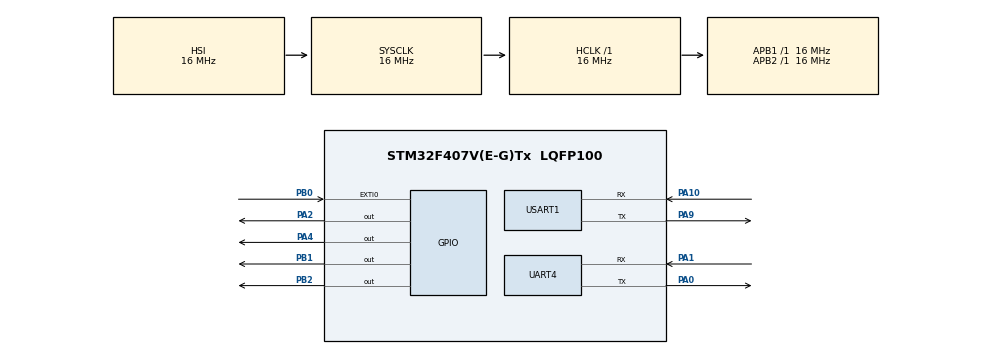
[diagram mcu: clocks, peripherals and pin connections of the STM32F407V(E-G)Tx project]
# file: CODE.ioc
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Dma.Request0=USART1_RX
Dma.USART1_RX.0.Direction=DMA_PERIPH_TO_MEMORY
Dma.USART1_RX.0.FIFOMode=DMA_FIFOMODE_DISABLE
Dma.USART1_RX.0.Instance=DMA2_Stream2
Dma.USART1_RX.0.MemDataAlignment=DMA_MDATAALIGN_BYTE
Dma.USART1_RX.0.MemInc=DMA_MINC_ENABLE
Dma.USART1_RX.0.Mode=DMA_NORMAL
Dma.USART1_RX.0.PeriphDataAlignment=DMA_PDATAALIGN_BYTE
Dma.USART1_RX.0.PeriphInc=DMA_PINC_DISABLE
Dma.USART1_RX.0.Priority=DMA_PRIORITY_LOW
Mcu.Family=STM32F4
<<<<<<< HEAD
Mcu.Name=STM32F407V(E-G)Tx
Mcu.Package=LQFP100
=======
Mcu.Name=STM32F407V(E-G)Tx
Mcu.Package=LQFP100
>>>>>>> trung
NVIC.DMA2_Stream2_IRQn=true\:0\:0\:false\:false\:true\:false\:true\:true
NVIC.EXTI0_IRQn=true\:2\:0\:true\:false\:true\:true\:true\:true
NVIC.PriorityGroup=NVIC_PRIORITYGROUP_4
NVIC.UART4_IRQn=true\:1\:0\:true\:false\:true\:true\:true\:true
<<<<<<< HEAD
PA10.Mode=Asynchronous
PA10.Signal=USART1_RX
PA13.Mode=Serial_Wire
PA13.Signal=SYS_JTMS-SWDIO
PA14.Mode=Serial_Wire
PA14.Signal=SYS_JTCK-SWCLK
PA9.Mode=Asynchronous
PA9.Signal=USART1_TX
=======
PA0-WKUP.Mode=Asynchronous
PA0-WKUP.Signal=UART4_TX
PA1.Mode=Asynchronous
PA1.Signal=UART4_RX
PA2.Signal=GPIO_Output
PA4.Signal=GPIO_Output
PB0.Signal=GPXTI0
PB1.Signal=GPIO_Output
PB2.Signal=GPIO_Output
>>>>>>> trung
ProjectManager.HeapSize=0x200
ProjectManager.StackSize=0x400
ProjectManager.TargetToolchain=STM32CubeIDE
<<<<<<< HEAD
=======
>>>>>>> trung
RCC.AHBFreq_Value=16000000
RCC.APB1Freq_Value=16000000
RCC.APB2Freq_Value=16000000
RCC.CortexFreq_Value=16000000
RCC.HSE_VALUE=25000000
RCC.HSI_VALUE=16000000
RCC.LSE_VALUE=32768
RCC.SYSCLKFreq_VALUE=16000000
RCC.VCOOutputFreq_Value=192000000
<<<<<<< HEAD
USART1.VirtualMode=VM_ASYNC
=======
UART4.VirtualMode=Asynchronous
>>>>>>> trung
board=custom

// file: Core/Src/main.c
/* USER CODE BEGIN Header */
/**
 ******************************************************************************
 * @file           : main.c
 * @brief          : Main program body
 ******************************************************************************
 * @attention
 *
 * Copyright (c) 2023 STMicroelectronics.
 * All rights reserved.
 *
 * This software is licensed under terms that can be found in the LICENSE file
 * in the root directory of this software component.
 * If no LICENSE file comes with this software, it is provided AS-IS.
 *
 ******************************************************************************
 */
/* USER CODE END Header */
#include "main.h"

/* USER CODE BEGIN Includes */
#include "rs485.h"
#include "string.h"
#include "stdio.h"

/* USER CODE END Includes */

UART_HandleTypeDef huart1;
DMA_HandleTypeDef hdma_usart1_rx;

/* USER CODE BEGIN PV */
RS485 *rs485Ptr;
RS485 rs485 = {0};
UART_HandleTypeDef huart4;

/* USER CODE END PV */

void SystemClock_Config(void);
static void MX_GPIO_Init(void);
<<<<<<< HEAD
static void MX_DMA_Init(void);
static void MX_USART1_UART_Init(void);
=======
static void MX_UART4_Init(void);
>>>>>>> trung

/* USER CODE BEGIN 0 */

void RS485_Init()
{
  rs485Ptr = &rs485;
  rs485Ptr->RS485_Power_Port = GPIOA;
  rs485Ptr->RS485_Power_Pin = GPIO_PIN_4;
  rs485Ptr->RS485_RE_Port = GPIOB;
  rs485Ptr->RS485_RE_Pin = GPIO_PIN_1;
  rs485Ptr->RS485_DE_Port = GPIOB;
  rs485Ptr->RS485_DE_Pin = GPIO_PIN_2;
  rs485Ptr->huart = &huart4;
  sprintf(rs485Ptr->TxBuffer, "%s", "Hello World");
}
/* USER CODE END 0 */

int main(void)
{

  /* MCU Configuration--------------------------------------------------------*/

  /* Reset of all peripherals, Initializes the Flash interface and the Systick. */
  HAL_Init();

  /* Configure the system clock */
  SystemClock_Config();

  /* Initialize all configured peripherals */
  MX_GPIO_Init();
<<<<<<< HEAD
  MX_DMA_Init();
  MX_USART1_UART_Init();
=======
  MX_UART4_Init();
>>>>>>> trung
  /* USER CODE BEGIN 2 */
  RS485_Init();
  RS485_Transmit(rs485Ptr);

  /* USER CODE END 2 */

  /* Infinite loop */
  /* USER CODE BEGIN WHILE */
  while (1)
  {
    RS485_Receive(rs485Ptr);
    /* USER CODE END WHILE */

  }
}

void SystemClock_Config(void)
{
  RCC_OscInitTypeDef RCC_OscInitStruct = {0};
  RCC_ClkInitTypeDef RCC_ClkInitStruct = {0};

  /** Configure the main internal regulator output voltage
   */
  __HAL_RCC_PWR_CLK_ENABLE();
  __HAL_PWR_VOLTAGESCALING_CONFIG(PWR_REGULATOR_VOLTAGE_SCALE1);

  /** Initializes the RCC Oscillators according to the specified parameters
   * in the RCC_OscInitTypeDef structure.
   */
  RCC_OscInitStruct.OscillatorType = RCC_OSCILLATORTYPE_HSI;
  RCC_OscInitStruct.HSIState = RCC_HSI_ON;
  RCC_OscInitStruct.HSICalibrationValue = RCC_HSICALIBRATION_DEFAULT;
  RCC_OscInitStruct.PLL.PLLState = RCC_PLL_NONE;
  if (HAL_RCC_OscConfig(&RCC_OscInitStruct) != HAL_OK)
  {
    Error_Handler();
  }

  /** Initializes the CPU, AHB and APB buses clocks
   */
  RCC_ClkInitStruct.ClockType = RCC_CLOCKTYPE_HCLK | RCC_CLOCKTYPE_SYSCLK | RCC_CLOCKTYPE_PCLK1 | RCC_CLOCKTYPE_PCLK2;
  RCC_ClkInitStruct.SYSCLKSource = RCC_SYSCLKSOURCE_HSI;
  RCC_ClkInitStruct.AHBCLKDivider = RCC_SYSCLK_DIV1;
  RCC_ClkInitStruct.APB1CLKDivider = RCC_HCLK_DIV1;
  RCC_ClkInitStruct.APB2CLKDivider = RCC_HCLK_DIV1;

  if (HAL_RCC_ClockConfig(&RCC_ClkInitStruct, FLASH_LATENCY_0) != HAL_OK)
  {
    Error_Handler();
  }
}

static void MX_USART1_UART_Init(void)
{

  huart1.Instance = USART1;
  huart1.Init.BaudRate = 115200;
  huart1.Init.WordLength = UART_WORDLENGTH_8B;
  huart1.Init.StopBits = UART_STOPBITS_1;
  huart1.Init.Parity = UART_PARITY_NONE;
  huart1.Init.Mode = UART_MODE_TX_RX;
  huart1.Init.HwFlowCtl = UART_HWCONTROL_NONE;
  huart1.Init.OverSampling = UART_OVERSAMPLING_16;
  if (HAL_UART_Init(&huart1) != HAL_OK)
  {
    Error_Handler();
  }

}

static void MX_DMA_Init(void)
{

  /* DMA controller clock enable */
  __HAL_RCC_DMA2_CLK_ENABLE();

  /* DMA interrupt init */
  /* DMA2_Stream2_IRQn interrupt configuration */
  HAL_NVIC_SetPriority(DMA2_Stream2_IRQn, 0, 0);
  HAL_NVIC_EnableIRQ(DMA2_Stream2_IRQn);

}

static void MX_GPIO_Init(void)
{

  /* GPIO Ports Clock Enable */
  __HAL_RCC_GPIOA_CLK_ENABLE();

=======
 * @brief UART4 Initialization Function
 * @param None
 * @retval None
 */
static void MX_UART4_Init(void)
{

  huart4.Instance = UART4;
  huart4.Init.BaudRate = 115200;
  huart4.Init.WordLength = UART_WORDLENGTH_8B;
  huart4.Init.StopBits = UART_STOPBITS_1;
  huart4.Init.Parity = UART_PARITY_NONE;
  huart4.Init.Mode = UART_MODE_TX_RX;
  huart4.Init.HwFlowCtl = UART_HWCONTROL_NONE;
  huart4.Init.OverSampling = UART_OVERSAMPLING_16;
  if (HAL_UART_Init(&huart4) != HAL_OK)
  {
    Error_Handler();
  }
}

static void MX_GPIO_Init(void)
{
  GPIO_InitTypeDef GPIO_InitStruct = {0};

  /* GPIO Ports Clock Enable */
  __HAL_RCC_GPIOA_CLK_ENABLE();
  __HAL_RCC_GPIOB_CLK_ENABLE();

  /*Configure GPIO pin Output Level */
  HAL_GPIO_WritePin(GPIOA, GPIO_PIN_2 | GPIO_PIN_4, GPIO_PIN_RESET);

  /*Configure GPIO pin Output Level */
  HAL_GPIO_WritePin(GPIOB, GPIO_PIN_1 | GPIO_PIN_2, GPIO_PIN_RESET);

  /*Configure GPIO pins : PA2 PA4 */
  GPIO_InitStruct.Pin = GPIO_PIN_2 | GPIO_PIN_4;
  GPIO_InitStruct.Mode = GPIO_MODE_OUTPUT_PP;
  GPIO_InitStruct.Pull = GPIO_NOPULL;
  GPIO_InitStruct.Speed = GPIO_SPEED_FREQ_LOW;
  HAL_GPIO_Init(GPIOA, &GPIO_InitStruct);

  /*Configure GPIO pin : PB0 */
  GPIO_InitStruct.Pin = GPIO_PIN_0;
  GPIO_InitStruct.Mode = GPIO_MODE_IT_RISING;
  GPIO_InitStruct.Pull = GPIO_NOPULL;
  HAL_GPIO_Init(GPIOB, &GPIO_InitStruct);

  /*Configure GPIO pins : PB1 PB2 */
  GPIO_InitStruct.Pin = GPIO_PIN_1 | GPIO_PIN_2;
  GPIO_InitStruct.Mode = GPIO_MODE_OUTPUT_PP;
  GPIO_InitStruct.Pull = GPIO_NOPULL;
  GPIO_InitStruct.Speed = GPIO_SPEED_FREQ_LOW;
  HAL_GPIO_Init(GPIOB, &GPIO_InitStruct);

  /* EXTI interrupt init*/
  HAL_NVIC_SetPriority(EXTI0_IRQn, 2, 0);
  HAL_NVIC_EnableIRQ(EXTI0_IRQn);

>>>>>>> trung
}

void Error_Handler(void)
{
  __disable_irq();
  while (1)
  {
  }
}
